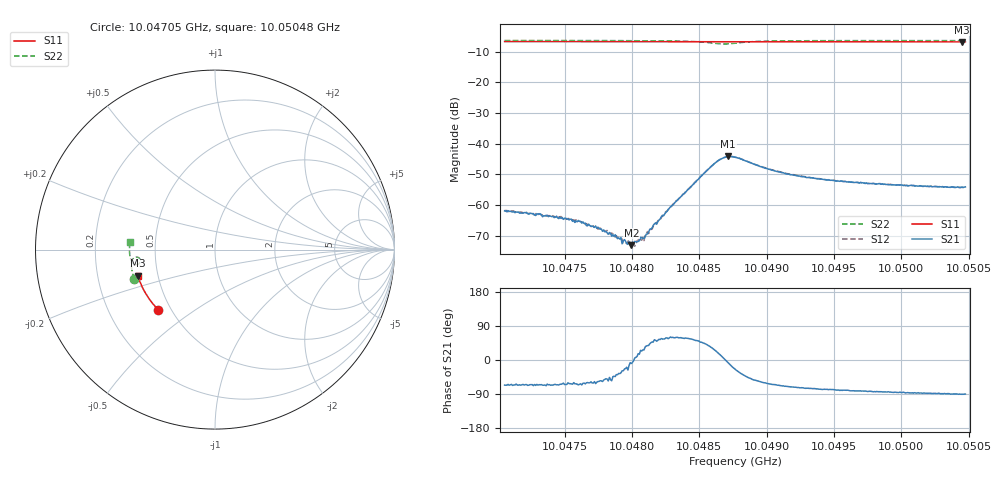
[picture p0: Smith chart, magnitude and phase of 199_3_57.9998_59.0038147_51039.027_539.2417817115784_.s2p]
#  HZ  S  RI  R  50.00
! Rohde & Schwarz Vector Network Analyzer
! Rohde-Schwarz,ZNB20-2Port,1311601062101988,3.16
! Created: UTC 3/21/2024, 12:59:10 AM
! freq[Hz]  re:S11  im:S11  re:S21  im:S21  re:S12  im:S12  re:S22  im:S22
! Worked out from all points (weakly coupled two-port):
!   401 points, 10.04705 GHz to 10.05048 GHz, reference 50 ohm
!   highest |S21| = -44.16 dB at 10.04871 GHz (marker M1); lowest = -73.0 dB at 10.04799 GHz (marker M2)
!   lowest |S11| = -6.9 dB at 10.05045 GHz (marker M3), VSWR 2.67, Z = 19.2 - j7.06 ohm
!   |S11| at or under -10 dB: nowhere
!   |S22| runs from -7.5 to -6.4 dB; largest |S21 - S12| = 0.00041
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1.0047054e10  -0.3154 -0.3356  0.000324 -0.000741  0.000387 -0.000731  -0.4502 -0.1645
1.004731e10  -0.3271 -0.3233  0.000302 -0.000651  0.000329 -0.000648  -0.4554 -0.1477
1.0047456e10  -0.3336 -0.3162  0.000247 -0.000553  0.000315 -0.000553  -0.4581 -0.1377
1.0047627e10  -0.341 -0.3077  0.00021 -0.000466  0.000285 -0.000442  -0.461 -0.1258
1.0047806e10  -0.3485 -0.2985  0.000242 -0.000285  0.00024 -0.000295  -0.4635 -0.1128
1.0047909e10  -0.3528 -0.293  0.000226 -0.000164  0.000245 -0.000168  -0.4646 -0.1048
1.0047943e10  -0.3542 -0.2913  0.000252 -0.000113  0.000229 -0.000101  -0.465 -0.1021
1.0047995e10  -0.3563 -0.2886  0.000222 -3.58e-05  0.000247 -4.23e-06  -0.4655 -0.0981
1.004802e10  -0.3573 -0.2872  0.000256 2.48e-05  0.000209 5.31e-05  -0.4656 -0.096
1.0048046e10  -0.3583 -0.2859  0.000247 7.38e-05  0.000254 9.03e-05  -0.4659 -0.0939
1.004808e10  -0.3596 -0.2839  0.000257 0.000129  0.000261 0.000145  -0.466 -0.0911
1.00482e10  -0.3644 -0.2777  0.000331 0.000466  0.000321 0.000482  -0.4662 -0.0801
1.004832e10  -0.3688 -0.2711  0.000579 0.000951  0.000549 0.000992  -0.4643 -0.0681
1.0048585e10  -0.3784 -0.2564  0.00348 0.00234  0.00338 0.00256  -0.4358 -0.0417
1.0048653e10  -0.3806 -0.2526  0.00536 0.00134  0.0053 0.00166  -0.4199 -0.0497
1.0048713e10  -0.3826 -0.2493  0.00615 -0.000765  0.00618 -0.000371  -0.4161 -0.0674
1.0048765e10  -0.3842 -0.2469  0.0055 -0.00247  0.00568 -0.00215  -0.4247 -0.0796
1.0049056e10  -0.3944 -0.2304  0.00155 -0.0033  0.00171 -0.00324  -0.4661 -0.0631
1.0049338e10  -0.403 -0.2138  0.000701 -0.0027  0.000833 -0.00266  -0.4738 -0.0373
1.0049911e10  -0.4184 -0.1793  0.000205 -0.00214  0.000348 -0.00214  -0.4765 0.00612
1.005045e10  -0.4302 -0.146  -1.85e-05 -0.00196  9.35e-05 -0.00196  -0.4746 0.0432
1.0050476e10  -0.431 -0.1445  1.64e-06 -0.00198  9.41e-05 -0.00198  -0.4744 0.0451
